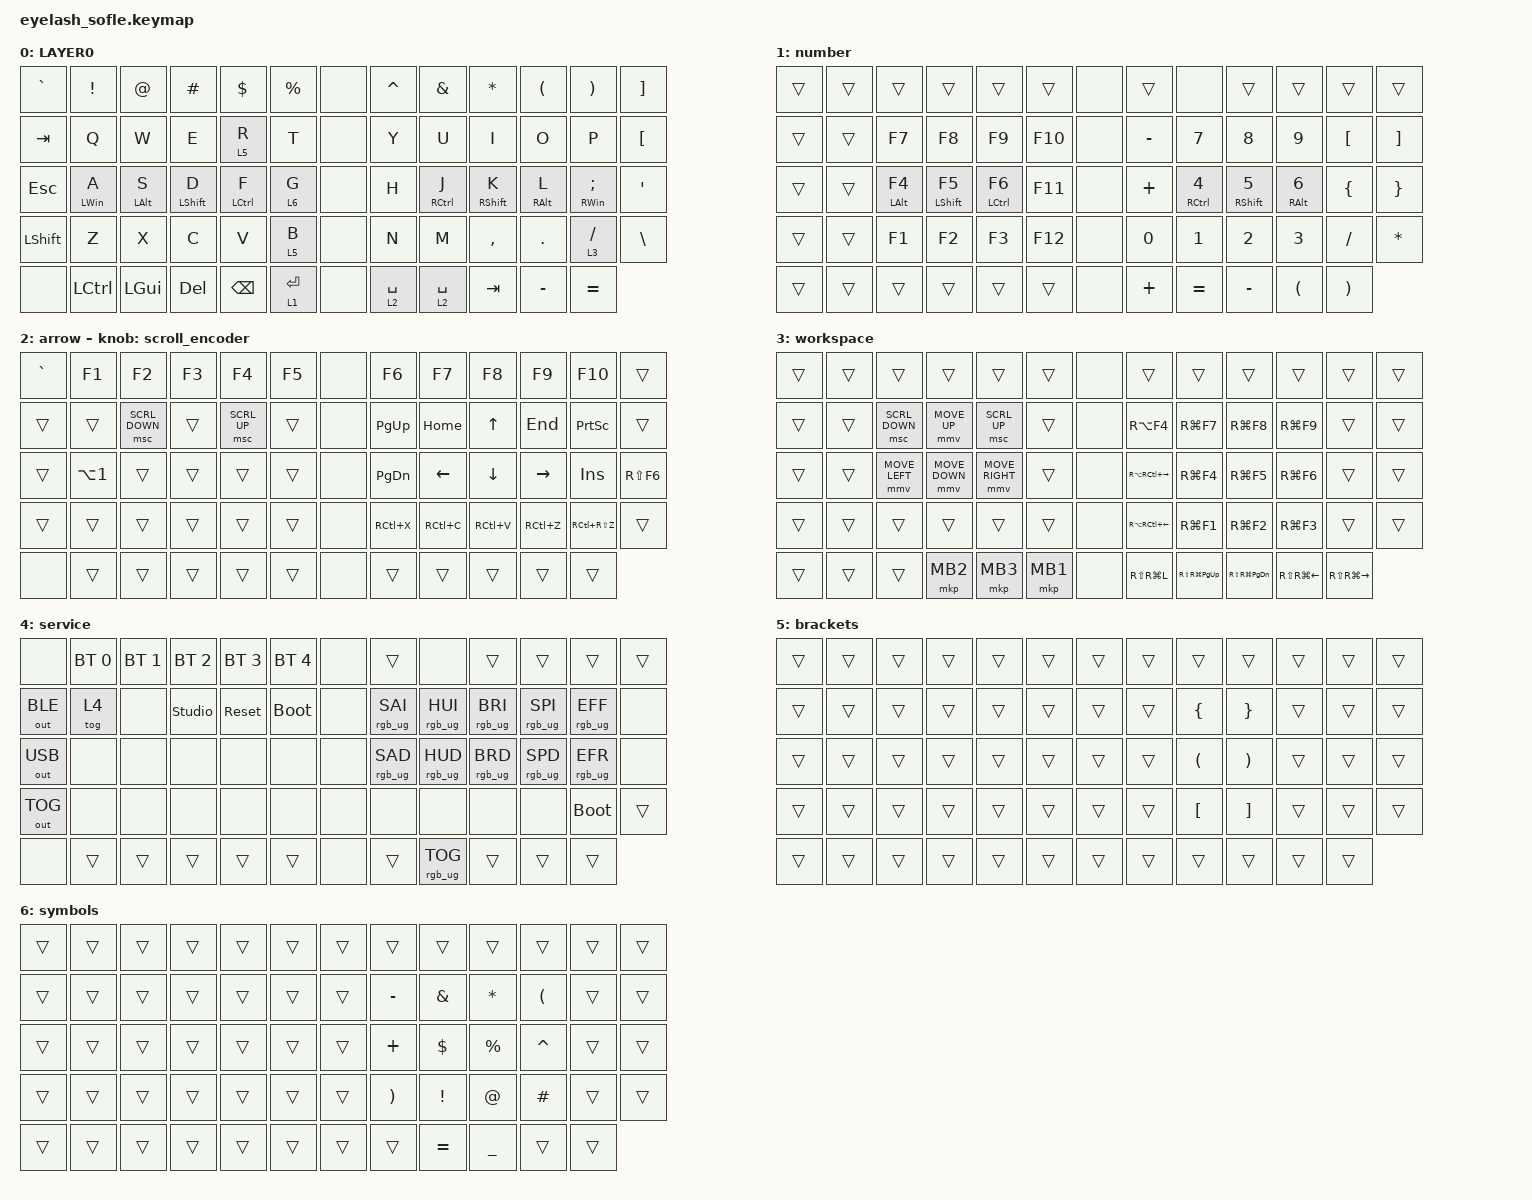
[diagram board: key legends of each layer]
#define ZMK_POINTING_DEFAULT_MOVE_VAL 1200  // 600
#define ZMK_POINTING_DEFAULT_SCRL_VAL 25   // 10

#include <input/processors.dtsi>
#include <zephyr/dt-bindings/input/input-event-codes.h>
#include <behaviors.dtsi>
#include <dt-bindings/zmk/bt.h>
#include <dt-bindings/zmk/keys.h>
#include <dt-bindings/zmk/outputs.h>
#include <dt-bindings/zmk/pointing.h>
#include <dt-bindings/zmk/rgb.h>

&mmv_input_listener { input-processors = <&zip_xy_scaler 2 1>; };

&msc_input_listener { input-processors = <&zip_scroll_scaler 2 1>; };

&msc {
    acceleration-exponent = <1>;      // 0
    time-to-max-speed-ms = <100>;       // 300
    delay-ms = <0>;                   // 0
};

&mmv {
    time-to-max-speed-ms = <500>;
    acceleration-exponent = <1>;
    trigger-period-ms = <16>;
};

/ {
    scroll_encoder: scroll_encoder {
        compatible = "zmk,behavior-sensor-rotate";
        #sensor-binding-cells = <0>;
        bindings = <&msc SCRL_DOWN>, <&msc SCRL_UP>;

        tap-ms = <100>;
    };

    thh: thh {
        compatible = "zmk,behavior-hold-tap";
        label = "THH";
        bindings = <&kp>, <&kp>;

        #binding-cells = <2>;
        tapping-term-ms = <200>;
        flavor = "tap-preferred";
        quick-tap-ms = <150>;
    };

    q_tog_4: q_tog_4 {
        compatible = "zmk,behavior-tap-dance";
        label = "q or tap dance 5 tog 4 layer";
        #binding-cells = <0>;
        bindings = <&kp Q>, <&none>, <&none>, <&none>, <&tog 4>;
    };

    mtt: mtt {
        compatible = "zmk,behavior-hold-tap";
        label = "MTT";
        bindings = <&kp>, <&kp>;

        #binding-cells = <2>;
        tapping-term-ms = <200>;
        flavor = "tap-preferred";
        quick-tap-ms = <150>;
    };

    ltt: ltt {
        compatible = "zmk,behavior-hold-tap";
        label = "LTT";
        bindings = <&mo>, <&kp>;

        #binding-cells = <2>;
        tapping-term-ms = <200>;
        flavor = "tap-preferred";
        quick-tap-ms = <150>;
    };

    behaviors {
    };

    combos {
        compatible = "zmk,combos";

        service-layer {
            bindings = <&tog 4>;
            key-positions = <0 51>;
            layers = <0 4>;
        };
    };

    keymap {
        compatible = "zmk,keymap";

        base {
            bindings = <
&kp GRAVE   &kp EXCLAMATION  &kp AT_SIGN      &kp HASH           &kp DOLLAR           &kp PERCENT     &none  &kp CARET    &kp AMPERSAND         &kp ASTERISK        &kp LEFT_PARENTHESIS  &kp RIGHT_PARENTHESIS  &kp RIGHT_BRACKET
&kp TAB     &kp Q            &kp W            &kp E              &lt 5 R              &kp T           &none  &kp Y        &kp U                 &kp I               &kp O                 &kp P                  &kp LEFT_BRACKET
&kp ESCAPE  &mtt LEFT_WIN A  &mtt LEFT_ALT S  &mtt LEFT_SHIFT D  &mtt LEFT_CONTROL F  &lt 6 G         &none  &kp H        &mtt RIGHT_CONTROL J  &mtt RIGHT_SHIFT K  &mtt RIGHT_ALT L      &mtt RIGHT_WIN SEMI    &kp APOS
&kp LSHFT   &kp Z            &kp X            &kp C              &kp V                &lt 5 B         &none  &kp N        &kp M                 &kp COMMA           &kp DOT               &ltt 3 SLASH           &kp BACKSLASH
&none       &kp LCTRL        &kp LEFT_GUI     &kp DELETE         &kp BACKSPACE        &ltt 1 ENTER    &none  &lt 2 SPACE  &ltt 2 SPACE          &kp TAB             &kp MINUS             &kp EQUAL
            >;

            display-name = "LAYER0";
        };

        number {
            bindings = <
&trans  &trans  &trans            &trans              &trans                &trans     &none  &trans     &none                        &trans               &trans                   &trans                 &trans
&trans  &trans  &kp F7            &kp F8              &kp F9                &kp F10    &none  &kp MINUS  &kp N7                       &kp N8               &kp N9                   &kp LEFT_BRACKET       &kp RIGHT_BRACKET
&trans  &trans  &thh LEFT_ALT F4  &thh LEFT_SHIFT F5  &thh LEFT_CONTROL F6  &kp F11    &none  &kp PLUS   &thh RIGHT_CONTROL NUMBER_4  &thh RIGHT_SHIFT N5  &thh RIGHT_ALT NUMBER_6  &kp LEFT_BRACE         &kp RIGHT_BRACE
&trans  &trans  &kp F1            &kp F2              &kp F3                &kp F12    &none  &kp N0     &kp NUMBER_1                 &kp N2               &kp N3                   &kp SLASH              &kp ASTERISK
&trans  &trans  &trans            &trans              &trans                &trans     &none  &kp PLUS   &kp EQUAL                    &kp MINUS            &kp LEFT_PARENTHESIS     &kp RIGHT_PARENTHESIS
            >;
        };

        arrow {
            bindings = <
&kp GRAVE  &kp F1            &kp F2          &kp F3  &kp F4        &kp F5    &none  &kp F6     &kp F7     &kp F8     &kp F9     &kp F10          &trans
&trans     &trans            &msc SCRL_DOWN  &trans  &msc SCRL_UP  &trans    &none  &kp PG_UP  &kp HOME   &kp UP     &kp END    &kp PRINTSCREEN  &trans
&trans     &kp LA(NUMBER_1)  &trans          &trans  &trans        &trans    &none  &kp PG_DN  &kp LEFT   &kp DOWN   &kp RIGHT  &kp INSERT       &kp RS(F6)
&trans     &trans            &trans          &trans  &trans        &trans    &none  &kp RC(X)  &kp RC(C)  &kp RC(V)  &kp RC(Z)  &kp RC(RS(Z))    &trans
&none      &trans            &trans          &trans  &trans        &trans    &none  &trans     &trans     &trans     &trans     &trans
            >;

            display-name = "arrow";
            sensor-bindings = <&scroll_encoder>;
        };

        workspace {
            bindings = <
&trans  &trans  &trans          &trans          &trans           &trans      &none  &trans                  &trans               &trans                 &trans                  &trans                   &trans
&trans  &trans  &msc SCRL_DOWN  &mmv MOVE_UP    &msc SCRL_UP     &trans      &none  &kp RA(F4)              &kp RG(F7)           &kp RG(F8)             &kp RG(F9)              &trans                   &trans
&trans  &trans  &mmv MOVE_LEFT  &mmv MOVE_DOWN  &mmv MOVE_RIGHT  &trans      &none  &kp RA(RC(RIGHT))       &kp RG(F4)           &kp RG(F5)             &kp RG(F6)              &trans                   &trans
&trans  &trans  &trans          &trans          &trans           &trans      &none  &kp RA(RC(LEFT_ARROW))  &kp RG(F1)           &kp RG(F2)             &kp RG(F3)              &trans                   &trans
&trans  &trans  &trans          &mkp MB2        &mkp MB3         &mkp MB1    &none  &kp RS(RG(L))           &kp RS(RG(PAGE_UP))  &kp RS(RG(PAGE_DOWN))  &kp RS(RG(LEFT_ARROW))  &kp RS(RG(RIGHT_ARROW))
            >;
        };

        service {
            bindings = <
&none         &bt BT_SEL 0  &bt BT_SEL 1  &bt BT_SEL 2    &bt BT_SEL 3  &bt BT_SEL 4    &none  &trans           &none            &trans           &trans           &trans           &trans
&out OUT_BLE  &tog 4        &none         &studio_unlock  &sys_reset    &bootloader     &none  &rgb_ug RGB_SAI  &rgb_ug RGB_HUI  &rgb_ug RGB_BRI  &rgb_ug RGB_SPI  &rgb_ug RGB_EFF  &none
&out OUT_USB  &none         &none         &none           &none         &none           &none  &rgb_ug RGB_SAD  &rgb_ug RGB_HUD  &rgb_ug RGB_BRD  &rgb_ug RGB_SPD  &rgb_ug RGB_EFR  &none
&out OUT_TOG  &none         &none         &none           &none         &none           &none  &none            &none            &none            &none            &bootloader      &trans
&none         &trans        &trans        &trans          &trans        &trans          &none  &trans           &rgb_ug RGB_TOG  &trans           &trans           &trans
            >;
        };

        brackets {
            bindings = <
&trans  &trans  &trans  &trans  &trans  &trans    &trans  &trans  &trans                &trans                 &trans  &trans  &trans
&trans  &trans  &trans  &trans  &trans  &trans    &trans  &trans  &kp LEFT_BRACE        &kp RIGHT_BRACE        &trans  &trans  &trans
&trans  &trans  &trans  &trans  &trans  &trans    &trans  &trans  &kp LEFT_PARENTHESIS  &kp RIGHT_PARENTHESIS  &trans  &trans  &trans
&trans  &trans  &trans  &trans  &trans  &trans    &trans  &trans  &kp LEFT_BRACKET      &kp RIGHT_BRACKET      &trans  &trans  &trans
&trans  &trans  &trans  &trans  &trans  &trans    &trans  &trans  &trans                &trans                 &trans  &trans
            >;
        };

        symbols {
            bindings = <
&trans  &trans  &trans  &trans  &trans  &trans    &trans  &trans                 &trans           &trans          &trans                &trans  &trans
&trans  &trans  &trans  &trans  &trans  &trans    &trans  &kp MINUS              &kp AMPERSAND    &kp ASTERISK    &kp LEFT_PARENTHESIS  &trans  &trans
&trans  &trans  &trans  &trans  &trans  &trans    &trans  &kp PLUS               &kp DOLLAR       &kp PERCENT     &kp CARET             &trans  &trans
&trans  &trans  &trans  &trans  &trans  &trans    &trans  &kp RIGHT_PARENTHESIS  &kp EXCLAMATION  &kp AT_SIGN     &kp HASH              &trans  &trans
&trans  &trans  &trans  &trans  &trans  &trans    &trans  &trans                 &kp EQUAL        &kp UNDERSCORE  &trans                &trans
            >;
        };
    };
};
